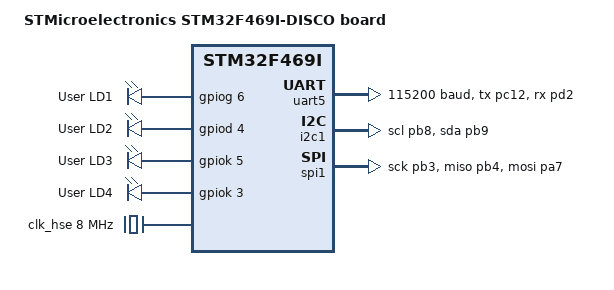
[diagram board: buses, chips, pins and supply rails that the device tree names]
/*
 * Copyright (c) 2017 Linaro Limited
 *
 * SPDX-License-Identifier: Apache-2.0
 */

/dts-v1/;
#include <st/f4/stm32f469Xi.dtsi>
#include <st/f4/stm32f469nihx-pinctrl.dtsi>
#include "arduino_r3_connector.dtsi"
#include <zephyr/dt-bindings/input/input-event-codes.h>

/ {
	model = "STMicroelectronics STM32F469I-DISCO board";
	compatible = "st,stm32f469i-disco";

	chosen {
		zephyr,console = &uart5;
		zephyr,shell-uart = &uart5;
		zephyr,sram = &sram0;
		zephyr,flash = &flash0;
		zephyr,ccm = &ccm0;
	};

	leds {
		compatible = "gpio-leds";
		green_led_1: led_1 {
			gpios = <&gpiog 6 GPIO_ACTIVE_HIGH>;
			label = "User LD1";
		};
		orange_led_2: led_2 {
			gpios = <&gpiod 4 GPIO_ACTIVE_HIGH>;
			label = "User LD2";
		};
		red_led_3: led_3 {
			gpios = <&gpiok 5 GPIO_ACTIVE_HIGH>;
			label = "User LD3";
		};
		blue_led_4: led_4 {
			gpios = <&gpiok 3 GPIO_ACTIVE_HIGH>;
			label = "User LD4";
		};
	};

	aliases {
		led0 = &red_led_3;
		led1 = &orange_led_2;
		led2 = &red_led_3;
		led3 = &blue_led_4;
	};
};

&clk_lsi {
	status = "okay";
};

&clk_hse {
	clock-frequency = <DT_FREQ_M(8)>;
	status = "okay";
};

&pll {
	div-m = <8>;
	mul-n = <336>;
	div-p = <2>;
	div-q = <7>;
	clocks = <&clk_hse>;
	status = "okay";
};

&rcc {
	clocks = <&pll>;
	clock-frequency = <DT_FREQ_M(168)>;
	ahb-prescaler = <1>;
	apb1-prescaler = <4>;
	apb2-prescaler = <2>;
};

&uart5 {
	pinctrl-0 = <&uart5_tx_pc12 &uart5_rx_pd2>;
	pinctrl-names = "default";
	current-speed = <115200>;
	status = "okay";
};

&i2c1 {
	pinctrl-0 = <&i2c1_scl_pb8 &i2c1_sda_pb9>;
	pinctrl-names = "default";
};

&spi1 {
	pinctrl-0 = <&spi1_sck_pb3 &spi1_miso_pb4 &spi1_mosi_pa7>;
	pinctrl-names = "default";
	cs-gpios = <&gpioa 15 GPIO_ACTIVE_LOW>;
	status = "okay";
};
